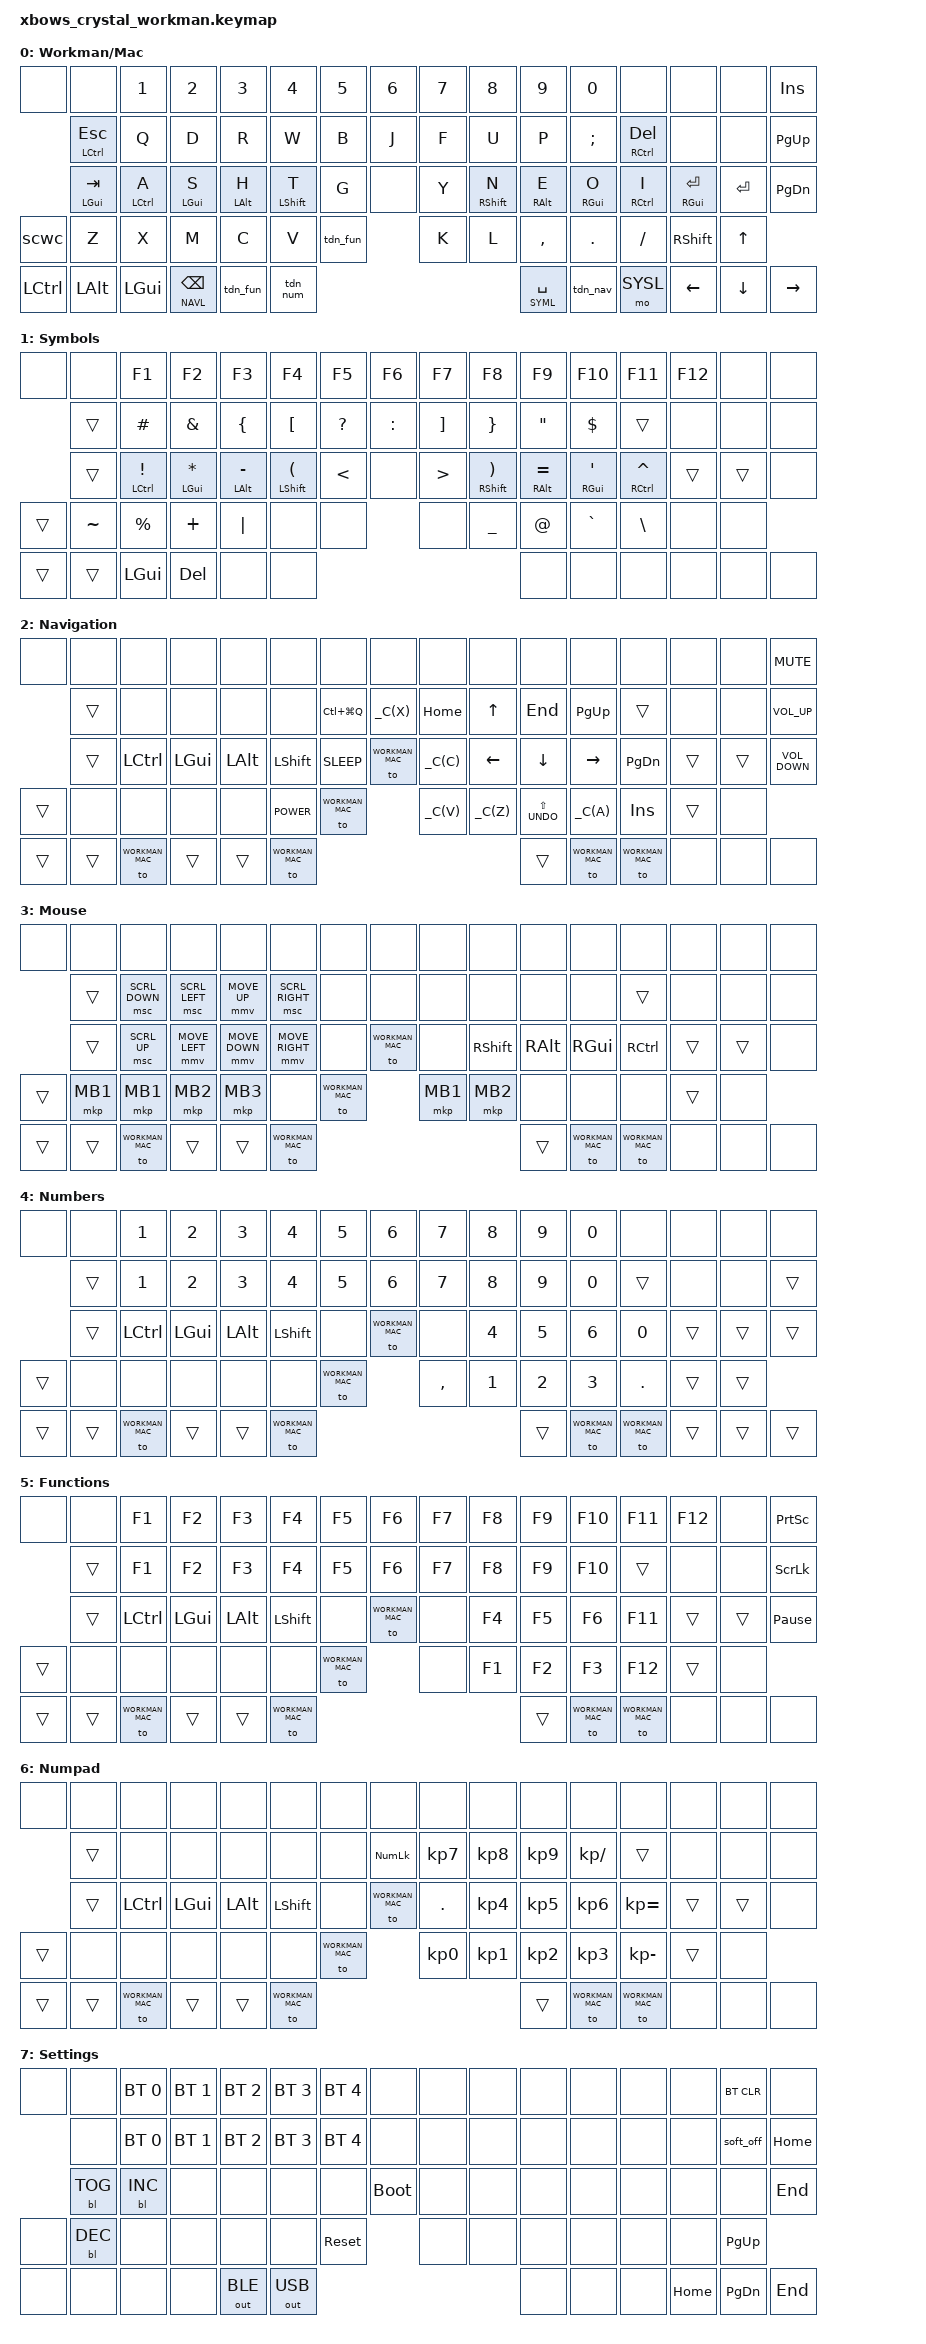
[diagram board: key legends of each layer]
/*
 * Copyright (c) 2023 The ZMK Contributors
 *
 * SPDX-License-Identifier: MIT
 */

#include <behaviors.dtsi>
#include <dt-bindings/zmk/backlight.h>
#include <dt-bindings/zmk/bt.h>
#include <dt-bindings/zmk/keys.h>
#include <dt-bindings/zmk/outputs.h>
//#include <dt-bindings/zmk/rgb.h>

#include "keypos_xbows_crystal.h"

#define OS_MAC   1
#define OS_WIN   2
#define OS_LINUX 3

#define TARGET_OS OS_MAC

#define WORKMAN_MAC 0
#define SYML        1 // Symbols
#define NAVL        2 // Navigation
#define MOUSL       3 // Mouse
#define NUML        4 // Numeric
#define FUNL        5 // Functions
#define NPADL       6 // Numpad
#define SYSL        7 // System/Settings

#if TARGET_OS == OS_MAC
#   define _C LG
#   define _QUIT _C(Q)
#   define _APP_NXT LG(TAB)
#   define _APP_PRV LS(LG(TAB))
#   define _WIN_NXT LG(GRAVE)
#   define _WIN_PRV LS(LG(GRAVE))
#else
#   define _C LC
#   define _QUIT LA(F4)
#   define _APP_NXT LA(TAB)
#   define _APP_PRV LS(LA(TAB))
#   define _WIN_NXT LC(TAB)
#   define _WIN_PRV LS(LC(TAB))
#endif

#define _CUT        _C(X)
#define _COPY       _C(C)
#define _PASTE      _C(V)
#define _UNDO       _C(Z)
#define _REDO       LS(_UNDO)
#define _SEL_ALL    _C(A)
#define _CLOSE      _C(W)
#define _LOCK_SCR   LC(LG(Q))

// &mt {
//     flavor = "tap-preferred";
//     quick-tap-ms = <200>;
// };

&lt {
    flavor = "balanced";
    tapping-term-ms = <200>;
    quick-tap-ms = <175>;                // repeat on tap-into-hold
    //require-prior-idle-ms = <150>;
};

#define KEYS_L      LN0 LN1 LN2 LN3 LN4 LN5 LN6 LT0 LT1 LT2 LT3 LT4 LT5 LM0 LM1 LM2 LM3 LM4 LM5 LB0 LB1 LB2 LB3 LB4 LB5 // left-hand keys
#define KEYS_R      RN0 RN1 RN2 RN3 RN4 RN5 RN6 RN7 RN8 RT0 RT1 RT2 RT3 RT4 RT5 RT6 RT7 RT8 RM0 RM1 RM2 RM3 RM4 RM5 RM6 RM7 RB0 RB1 RB2 RB3 RB4 RB5 RB6 // right-hand keys
#define THUMBS      CM0 CB0 LH4 LH3 LH2 LH1 LH0 RH0 RH1 RH2 RH3 RH4 RH5 RH6                                 // thumb keys

//
// ENABLE_MOUSE_KEYS activates support for mouse keys if defined; otherwise
// mouse keys are deactivated (they're transformed into no-ops) by default.
// To use this feature, uncomment the following line (remove leading "//").
//
#define ENABLE_MOUSE_KEYS

#define ZMK_MOUSE_DEFAULT_MOVE_VAL 2000
#define ZMK_MOUSE_DEFAULT_SCRL_VAL 10
#include <dt-bindings/zmk/mouse.h>
#ifdef ENABLE_MOUSE_KEYS
    // ==== MOUSE-KEY <section begins> ====
    &mmv {
      delay-ms = <0>;
      acceleration-exponent = <2>;
      time-to-max-speed-ms = <500>;
    };
    &msc {
      delay-ms = <0>;
      acceleration-exponent = <0>;
      time-to-max-speed-ms = <300>;
    };
    // ==== MOUSE-KEY <section ends> =====
#else
    //#define mkp none
    #define mmv none
    #define msc none
    #undef  MOVE_UP
    #define MOVE_UP
    #undef  MOVE_DOWN
    #define MOVE_DOWN
    #undef  MOVE_LEFT
    #define MOVE_LEFT
    #undef  MOVE_RIGHT
    #define MOVE_RIGHT
    #undef  SCRL_UP
    #define SCRL_UP
    #undef  SCRL_DOWN
    #define SCRL_DOWN
    #undef  SCRL_LEFT
    #define SCRL_LEFT
    #undef  SCRL_RIGHT
    #define SCRL_RIGHT
#endif

/ {

    behaviors {

        // left-hand HRMs
        hml: hml {
            compatible = "zmk,behavior-hold-tap";
            #binding-cells = <2>;
            flavor = "balanced";
            tapping-term-ms = <200>;
            quick-tap-ms = <175>;                // repeat on tap-into-hold
            require-prior-idle-ms = <150>;
            bindings = <&kp>, <&kp>;
            hold-trigger-key-positions = <KEYS_R THUMBS>;
            hold-trigger-on-release;             // delay positional check until key-release
        };

        // right-hand HRMs
        hmr: hmr {
            compatible = "zmk,behavior-hold-tap";
            #binding-cells = <2>;
            flavor = "balanced";
            tapping-term-ms = <200>;
            quick-tap-ms = <175>;                // repeat on tap-into-hold
            require-prior-idle-ms = <150>;
            bindings = <&kp>, <&kp>;
            hold-trigger-key-positions = <KEYS_L THUMBS>;
            hold-trigger-on-release;             // delay positional check until key-release
        };

        // Layer hold tap: hold to momentarily switch to layer, press to toggle to layer
        lht: layer_hold_tap {
            compatible = "zmk,behavior-hold-tap";
            #binding-cells = <2>;
            flavor = "tap-preferred";
            tapping-term-ms = <200>;
            quick-tap-ms = <175>;
            require-prior-idle-ms = <150>;
            bindings = <&mo>, <&to>;
        };

        // Layer hold none: hold to momentarily switch to layer, nothing on press
        lhn: layer_hold_none {
            compatible = "zmk,behavior-hold-tap";
            #binding-cells = <2>;
            flavor = "tap-preferred";
            tapping-term-ms = <200>;
            quick-tap-ms = <175>;
            require-prior-idle-ms = <150>;
            bindings = <&mo>, <&none>;
        };

        // Shift / Capsword
        scw: shift_caps_word {
            compatible = "zmk,behavior-hold-tap";
            #binding-cells = <2>;
            flavor = "tap-preferred";
            tapping-term-ms = <200>;
            quick-tap-ms = <175>;
            require-prior-idle-ms = <150>;
            bindings = <&kp>, <&caps_word>;
        };

        scwc: shift_caps_word_caps {
            compatible = "zmk,behavior-tap-dance";
            #binding-cells = <0>;
            tapping-term-ms = <200>;
            bindings = <&scw LSHFT 0>, <&kp CAPSLOCK>;
        };

        // Tap-dance and layer tap: one tap outputs a key press, two taps switches to layer, tap and hold enables the layer temporarily
        tdl_nav_esc: tap_dance_layer_navigation_escape {
            compatible = "zmk,behavior-tap-dance";
            #binding-cells = <0>;
            tapping-term-ms = <200>;
            bindings = <&lt NAVL ESC>, <&to NAVL>;
        };
        tdl_fun_esc: tap_dance_layer_func_escape {
            compatible = "zmk,behavior-tap-dance";
            #binding-cells = <0>;
            tapping-term-ms = <200>;
            bindings = <&lt FUNL ESC>, <&to FUNL>;
        };
        tdn_fun: tap_dance_none_func {
            compatible = "zmk,behavior-tap-dance";
            #binding-cells = <0>;
            tapping-term-ms = <200>;
            bindings = <&lhn FUNL 0>, <&to FUNL>;
        };
        tdn_nav: tap_dance_none_navigation {
            compatible = "zmk,behavior-tap-dance";
            #binding-cells = <0>;
            tapping-term-ms = <200>;
            bindings = <&lhn NAVL 0>, <&to NAVL>;
        };
        tdn_num: tap_dance_none_numeric {
            compatible = "zmk,behavior-tap-dance";
            #binding-cells = <0>;
            tapping-term-ms = <200>;
            bindings = <&lhn NUML 0>, <&to NUML>;
        };
        tdn_mouse: tap_dance_none_mouse {
            compatible = "zmk,behavior-tap-dance";
            #binding-cells = <0>;
            tapping-term-ms = <200>;
            bindings = <&lhn MOUSL 0>, <&to MOUSL>;
        };
    };

#define CTL_a     &hml LCTRL A
#define CTL_EXCL  &hml LCTRL EXCL
#define GUI_s     &hml LGUI  S
#define GUI_STAR  &hml LGUI  STAR
#define ALT_h     &hml LALT  H
#define ALT_MINUS &hml LALT  MINUS
#define SHF_t     &hml LSHFT T
#define SHF_LPAR  &hml LSHFT LPAR
#define SHF_n     &hmr RSHFT N
#define SHF_RPAR  &hmr RSHFT RPAR
#define ALT_e     &hmr RALT  E
#define ALT_EQUAL &hmr RALT  EQUAL
#define GUI_o     &hmr RGUI  O
#define GUI_SQT   &hmr RGUI  SQT
#define CTL_i     &hmr RCTRL I
#define CTL_CARET &hmr RCTRL CARET

#define CTL_ESC   &hml LCTRL ESC
#define GUI_TAB   &hml LGUI  TAB
#define CTL_DEL   &hmr RCTRL DEL
#define GUI_RET   &hmr RGUI  RET

#define SH_CAPSW  &scw LSHFT 0

#define TO_0      &to WORKMAN_MAC
#define LHT(L)    &lht L L

    macros {
    };

//#define COMBO_PRIOR_IDLE_MS -1
#define COMBO_PRIOR_IDLE_MS 150
//#define COMBO_TIMEOUT_MS 50
#define COMBO_TIMEOUT_MS 10

    combos {
        compatible = "zmk,combos";
        combo_capslock { // G+Y -> Caps Lock
            bindings = <&kp CAPSLOCK>;
            key-positions = <LM0 RM0>;
            layers = <WORKMAN_MAC>;
            require-prior-idle-ms = <COMBO_PRIOR_IDLE_MS>;
            //timeout-ms = <COMBO_TIMEOUT_MS>;
        };
        // combo_numeric { // Del + Backspace -> Numbers Layer
        //     bindings = <&mo NUML>;
        //     key-positions = <LH2 LH1>;
        //     layers = <WORKMAN_MAC>;
        //     require-prior-idle-ms = <COMBO_PRIOR_IDLE_MS>;
        //     //timeout-ms = <COMBO_TIMEOUT_MS>;
        // };
        // combo_navigation { // Backspace + Esc -> Navigation layer
        //     bindings = <&mo NAVL>;
        //     key-positions = <LH1 LH0>;
        //     layers = <WORKMAN_MAC>;
        //     require-prior-idle-ms = <COMBO_PRIOR_IDLE_MS>;
        //     //timeout-ms = <COMBO_TIMEOUT_MS>;
        // };
        combo_numpad { // Enter + Space -> Numpad Layer
            bindings = <&mo NPADL>;
            key-positions = <RH0 RH1>;
            layers = <WORKMAN_MAC>;
            require-prior-idle-ms = <COMBO_PRIOR_IDLE_MS>;
            //timeout-ms = <COMBO_TIMEOUT_MS>;
        };
        // combo_func { // Space + Tab -> Function Layer
        //     bindings = <&mo FUNL>;
        //     key-positions = <RH1 RH2>;
        //     layers = <WORKMAN_MAC>;
        //     require-prior-idle-ms = <COMBO_PRIOR_IDLE_MS>;
        //     //timeout-ms = <COMBO_TIMEOUT_MS>;
        // };
        combo_semicolon { // , + . -> ;
            bindings = <&kp SEMI>;
            key-positions = <RB2 RB3>;
            layers = <WORKMAN_MAC>;
            require-prior-idle-ms = <COMBO_PRIOR_IDLE_MS>;
            timeout-ms = <COMBO_TIMEOUT_MS>;
        };
        // combo_ctrl_q { // A + Q -> Ctrl+Q
        //     bindings = <&kp LC(W)>;
        //     key-positions = <LM4 LT4>;
        //     layers = <WORKMAN_MAC>;
        //     require-prior-idle-ms = <COMBO_PRIOR_IDLE_MS>;
        //     timeout-ms = <COMBO_TIMEOUT_MS>;
        // };
        // combo_ctrl_a { // A + S -> Ctrl+A
        //     bindings = <&kp LC(A)>;
        //     key-positions = <LM4 LM3>;
        //     layers = <WORKMAN_MAC>;
        //     require-prior-idle-ms = <COMBO_PRIOR_IDLE_MS>;
        //     timeout-ms = <COMBO_TIMEOUT_MS>;
        // };
        // combo_ctrl_z { // A + Z -> Ctrl+Z
        //     bindings = <&kp LC(Z)>;
        //     key-positions = <LM4 LB4>;
        //     layers = <WORKMAN_MAC>;
        //     require-prior-idle-ms = <COMBO_PRIOR_IDLE_MS>;
        //     timeout-ms = <COMBO_TIMEOUT_MS>;
        // };
        // combo_cmd_d { // S + D -> Cmd+D
        //     bindings = <&kp LG(D)>;
        //     key-positions = <LM3 LT3>;
        //     layers = <WORKMAN_MAC>;
        //     require-prior-idle-ms = <COMBO_PRIOR_IDLE_MS>;
        //     timeout-ms = <COMBO_TIMEOUT_MS>;
        // };
        // combo_cmd_s { // S + H -> Cmd+S
        //     bindings = <&kp LG(S)>;
        //     key-positions = <LM3 LM2>;
        //     layers = <WORKMAN_MAC>;
        //     require-prior-idle-ms = <COMBO_PRIOR_IDLE_MS>;
        //     timeout-ms = <COMBO_TIMEOUT_MS>;
        // };
        // combo_cmd_x { // S + X -> Cmd+X
        //     bindings = <&kp LG(X)>;
        //     key-positions = <LM3 LB3>;
        //     layers = <WORKMAN_MAC>;
        //     require-prior-idle-ms = <COMBO_PRIOR_IDLE_MS>;
        //     timeout-ms = <COMBO_TIMEOUT_MS>;
        // };
        // combo_alt_r { // H + R -> Alt+R
        //     bindings = <&kp LA(R)>;
        //     key-positions = <LM2 LT2>;
        //     layers = <WORKMAN_MAC>;
        //     require-prior-idle-ms = <COMBO_PRIOR_IDLE_MS>;
        //     timeout-ms = <COMBO_TIMEOUT_MS>;
        // };
        // combo_alt_h { // H + T -> Alt+H
        //     bindings = <&kp LA(H)>;
        //     key-positions = <LM2 LM1>;
        //     layers = <WORKMAN_MAC>;
        //     require-prior-idle-ms = <COMBO_PRIOR_IDLE_MS>;
        //     timeout-ms = <COMBO_TIMEOUT_MS>;
        // };
        // combo_alt_m { // H + M -> Alt+M
        //     bindings = <&kp LA(M)>;
        //     key-positions = <LM2 LB2>;
        //     layers = <WORKMAN_MAC>;
        //     require-prior-idle-ms = <COMBO_PRIOR_IDLE_MS>;
        //     timeout-ms = <COMBO_TIMEOUT_MS>;
        // };
        // combo_shft_w { // T + W -> Shift+W
        //     bindings = <&kp LS(W)>;
        //     key-positions = <LM1 LT1>;
        //     layers = <WORKMAN_MAC>;
        //     require-prior-idle-ms = <COMBO_PRIOR_IDLE_MS>;
        //     timeout-ms = <COMBO_TIMEOUT_MS>;
        // };
        // combo_shft_t { // T + G -> Shift+T
        //     bindings = <&kp LS(T)>;
        //     key-positions = <LM1 LM0>;
        //     layers = <WORKMAN_MAC>;
        //     require-prior-idle-ms = <COMBO_PRIOR_IDLE_MS>;
        //     timeout-ms = <COMBO_TIMEOUT_MS>;
        // };
        // combo_shft_c { // T + C -> Shift+C
        //     bindings = <&kp LS(C)>;
        //     key-positions = <LM1 LB1>;
        //     layers = <WORKMAN_MAC>;
        //     require-prior-idle-ms = <COMBO_PRIOR_IDLE_MS>;
        //     timeout-ms = <COMBO_TIMEOUT_MS>;
        // };
        // combo_shft_f { // N + F -> Shift+F
        //     bindings = <&kp LS(F)>;
        //     key-positions = <RM1 RT1>;
        //     layers = <WORKMAN_MAC>;
        //     require-prior-idle-ms = <COMBO_PRIOR_IDLE_MS>;
        //     timeout-ms = <COMBO_TIMEOUT_MS>;
        // };
        // combo_shft_n { // N + Y -> Shift+N
        //     bindings = <&kp LS(N)>;
        //     key-positions = <RM1 RM0>;
        //     layers = <WORKMAN_MAC>;
        //     require-prior-idle-ms = <COMBO_PRIOR_IDLE_MS>;
        //     timeout-ms = <COMBO_TIMEOUT_MS>;
        // };
        // combo_shft_l { // N + L -> Shift+L
        //     bindings = <&kp LS(L)>;
        //     key-positions = <RM1 RB1>;
        //     layers = <WORKMAN_MAC>;
        //     require-prior-idle-ms = <COMBO_PRIOR_IDLE_MS>;
        //     timeout-ms = <COMBO_TIMEOUT_MS>;
        // };
        // combo_alt_u { // E + U -> Alt+U
        //     bindings = <&kp LA(U)>;
        //     key-positions = <RM2 RT2>;
        //     layers = <WORKMAN_MAC>;
        //     require-prior-idle-ms = <COMBO_PRIOR_IDLE_MS>;
        //     timeout-ms = <COMBO_TIMEOUT_MS>;
        // };
        // combo_alt_e { // E + N -> Alt+E
        //     bindings = <&kp LA(E)>;
        //     key-positions = <RM2 RM1>;
        //     layers = <WORKMAN_MAC>;
        //     require-prior-idle-ms = <COMBO_PRIOR_IDLE_MS>;
        //     timeout-ms = <COMBO_TIMEOUT_MS>;
        // };
        // combo_alt_comma { // E + , -> Alt+,
        //     bindings = <&kp LA(COMMA)>;
        //     key-positions = <RM2 RB2>;
        //     layers = <WORKMAN_MAC>;
        //     require-prior-idle-ms = <COMBO_PRIOR_IDLE_MS>;
        //     timeout-ms = <COMBO_TIMEOUT_MS>;
        // };
        // combo_cmd_p { // O + P -> Cmd+P
        //     bindings = <&kp LG(P)>;
        //     key-positions = <RM3 RT3>;
        //     layers = <WORKMAN_MAC>;
        //     require-prior-idle-ms = <COMBO_PRIOR_IDLE_MS>;
        //     timeout-ms = <COMBO_TIMEOUT_MS>;
        // };
        // combo_cmd_o { // O + E -> Cmd+O
        //     bindings = <&kp LG(O)>;
        //     key-positions = <RM3 RM2>;
        //     layers = <WORKMAN_MAC>;
        //     require-prior-idle-ms = <COMBO_PRIOR_IDLE_MS>;
        //     timeout-ms = <COMBO_TIMEOUT_MS>;
        // };
        // combo_cmd_dot { // O + DOT -> Cmd+.
        //     bindings = <&kp LG(DOT)>;
        //     key-positions = <RM3 RB3>;
        //     layers = <WORKMAN_MAC>;
        //     require-prior-idle-ms = <COMBO_PRIOR_IDLE_MS>;
        //     timeout-ms = <COMBO_TIMEOUT_MS>;
        // };
        // combo_ctrl_semi { // I + ; -> Ctrl+;
        //     bindings = <&kp LC(SEMI)>;
        //     key-positions = <RM4 RT4>;
        //     layers = <WORKMAN_MAC>;
        //     require-prior-idle-ms = <COMBO_PRIOR_IDLE_MS>;
        //     timeout-ms = <COMBO_TIMEOUT_MS>;
        // };
        // combo_ctrl_i { // I + O -> Ctrl+I
        //     bindings = <&kp LC(I)>;
        //     key-positions = <RM4 RM3>;
        //     layers = <WORKMAN_MAC>;
        //     require-prior-idle-ms = <COMBO_PRIOR_IDLE_MS>;
        //     timeout-ms = <COMBO_TIMEOUT_MS>;
        // };
        // combo_ctrl_slash { // I + / -> Ctrl+/
        //     bindings = <&kp LC(FSLH)>;
        //     key-positions = <RM4 RB4>;
        //     layers = <WORKMAN_MAC>;
        //     require-prior-idle-ms = <COMBO_PRIOR_IDLE_MS>;
        //     timeout-ms = <COMBO_TIMEOUT_MS>;
        // };
    };

    keymap {
        compatible = "zmk,keymap";

        default_layer {
            display-name = "Workman/Mac";
            bindings = <
//╭─────────┬────────┬──────┬──────┬──────┬──────┬──────╮                 ╭──────┬──────┬─────────┬────────┬────────┬─────────┬───────┬─────╮     ╭─────────╮
    &none     &none   &kp N1 &kp N2 &kp N3 &kp N4 &kp N5                   &kp N6 &kp N7  &kp N8   &kp N9    &kp N0   &none     &none  &none        &kp INS
//╰─────────┼────────┼──────┼──────┼──────┼──────┼──────┤                 ├──────┼──────┼─────────┼────────┼────────┼─────────┼───────┼─────┤     ├─────────┤
             CTL_ESC  &kp Q  &kp D  &kp R  &kp W  &kp B                    &kp J  &kp F   &kp U     &kp P   &kp SEMI  CTL_DEL   &none  &none       &kp PG_UP
//      ╭───┴────────┼─────┼───────┼──────┼──────┼──────┤  ╭──────────╮   ├──────┼──────┼─────────┼────────┼────────┼─────────┼───────┼─────╯     ├─────────┤
          GUI_TAB     CTL_a  GUI_s  ALT_h   SHF_t &kp G      &none         &kp Y  SHF_n   ALT_e     GUI_o    CTL_i    GUI_RET  &kp RET             &kp PG_DN
//╭─────┴────────────┼─────┼───────┼──────┼──────┼──────┤  ├──────────┤   ├──────┼──────┼─────────┼────────┼────────┼─────────┼───────╯ ╭────────╮╰─────────╯
    &scwc             &kp Z  &kp X  &kp M  &kp C  &kp V      &tdn_fun      &kp K  &kp L  &kp COMMA &kp DOT  &kp FSLH &kp RSHFT            &kp UP
//├─────────┬────────┼─────┼───────┴──────┼──────┴──────┼──┴─────┬────┴───┼──────┴──────┴─────────┼────────┼────────┼─────────╯╭────────┼────────┼──────────╮
   &kp LCTRL &kp LALT        &kp LGUI      &lt NAVL BSPC &tdn_fun &tdn_num  &lt SYML SPC           &tdn_nav &mo SYSL            &kp LEFT &kp DOWN  &kp RIGHT
//╰─────────┴────────╯     ╰──────────────┴─────────────┴────────┴────────┴───────────────────────┴────────┴────────╯          ╰────────┴────────┴──────────╯
            >;
        };

        symbol_layer {
            display-name = "Symbols";
            bindings = <
//╭──────┬──────┬─────────┬─────────┬─────────┬────────┬─────────╮           ╭─────────┬─────────┬─────────┬─────────┬─────────┬───────┬───────┬─────╮ ╭─────╮
   &none  &none   &kp F1    &kp F2    &kp F3    &kp F4   &kp F5                &kp F6    &kp F7    &kp F8   &kp F9    &kp F10   &kp F11 &kp F12 &none   &none
//╰──────┼──────┼─────────┼─────────┼─────────┼────────┼─────────┤           ├─────────┼─────────┼─────────┼─────────┼─────────┼───────┼───────┼─────┤ ├─────┤
          &trans &kp POUND &kp AMPS   &kp LBRC &kp LBKT &kp QMARK             &kp COLON &kp RBKT  &kp RBRC   &kp DQT  &kp DLLR  &trans   &none  &none   &none
//   ╭───┴──────┼─────────┼─────────┼─────────┼────────┼─────────┤  ╭─────╮  ├─────────┼─────────┼─────────┼─────────┼─────────┼───────┼───────┼─────╯ ├─────┤
       &trans    CTL_EXCL  GUI_STAR  ALT_MINUS SHF_LPAR  &kp LT      &none     &kp GT   SHF_RPAR  ALT_EQUAL  GUI_SQT  CTL_CARET &trans  &trans          &none
//╭──┴──────────┼─────────┼─────────┼─────────┼────────┼─────────┤  ├─────┤  ├─────────┼─────────┼─────────┼─────────┼─────────┼───────┼───────╯╭─────╮╰─────╯
    &trans       &kp TILDE &kp PRCNT  &kp PLUS &kp PIPE   &none      &none     &none    &kp UNDER  &kp AT   &kp GRAVE &kp BSLH   &none           &none
//├──────┬──────┼─────────┼─────────┴─────────┼────────┴─────────┼──┴──┬──┴──┼─────────┴─────────┴─────────┼─────────┼─────────┼───────╯╭───────┼─────┼─────╮
   &trans &trans            &kp LGUI            &kp DEL           &none &none  &none                         &none     &none              &none  &none &none
//╰──────┴──────╯         ╰───────────────────┴──────────────────┴─────┴─────┴─────────────────────────────┴─────────┴─────────╯        ╰───────┴─────┴─────╯
            >;
        };

#define C_VD C_VOLUME_DOWN
#define C_VU C_VOLUME_UP

        navigation_layer {
            display-name = "Navigation";
            bindings = <
//╭──────┬──────┬─────────┬────────┬────────┬─────────┬─────────────╮           ╭──────────┬─────────┬─────────┬────────────┬─────────┬──────┬──────┬─────╮ ╭──────────╮
   &none  &none   &none     &none    &none    &none     &none                     &none      &none     &none     &none        &none    &none   &none &none   &kp C_MUTE
//╰──────┼──────┼─────────┼────────┼────────┼─────────┼─────────────┤           ├──────────┼─────────┼─────────┼────────────┼─────────┼──────┼──────┼─────┤ ├──────────┤
          &trans  &none     &none    &none    &none    &kp _LOCK_SCR              &kp _CUT  &kp HOME   &kp UP    &kp END     &kp PG_UP &trans &none  &none    &kp C_VU
//   ╭───┴──────┼─────────┼────────┼────────┼─────────┼─────────────┤   ╭────╮  ├──────────┼─────────┼─────────┼────────────┼─────────┼──────┼──────┼─────╯ ├──────────┤
        &trans   &kp LCTRL &kp LGUI &kp LALT &kp LSHFT &kp C_SLEEP       TO_0    &kp _COPY  &kp LEFT  &kp DOWN   &kp RIGHT   &kp PG_DN &trans &trans          &kp C_VD
//╭──┴──────────┼─────────┼────────┼────────┼─────────┼─────────────┤   ├────┤  ├──────────┼─────────┼─────────┼────────────┼─────────┼──────┼──────╯╭─────╮╰──────────╯
    &trans        &none     &none    &none    &none    &kp C_POWER       TO_0    &kp _PASTE &kp _UNDO &kp _REDO &kp _SEL_ALL  &kp INS  &trans         &none
//├──────┬──────┼─────────┼────────┴────────┼─────────┴─────────────┼───┴──┬─┴──┼──────────┴─────────┴─────────┼────────────┼─────────┼──────╯╭──────┼─────┼─────╮
   &trans &trans            TO_0              &trans                 &trans TO_0  &trans                         TO_0         TO_0              &none &none &none
//╰──────┴──────╯         ╰─────────────────┴───────────────────────┴──────┴────┴──────────────────────────────┴────────────┴─────────╯       ╰──────┴─────┴─────╯
            >;
        };

        mouse_layer {
            display-name = "Mouse";
            bindings = <
//╭──────┬──────┬──────────────┬──────────────┬──────────────┬───────────────┬─────╮           ╭────────┬─────────┬────────┬────────┬─────────┬──────┬──────┬─────╮ ╭─────╮
   &none  &none   &none          &none          &none          &none          &none              &none    &none     &none    &none    &none    &none   &none &none   &none
//╰──────┼──────┼──────────────┼──────────────┼──────────────┼───────────────┼─────┤           ├────────┼─────────┼────────┼────────┼─────────┼──────┼──────┼─────┤ ├─────┤
          &trans &msc SCRL_DOWN &msc SCRL_LEFT  &mmv MOVE_UP  &msc SCRL_RIGHT &none              &none    &none     &none    &none    &none    &trans &none  &none   &none
//   ╭───┴──────┼──────────────┼──────────────┼──────────────┼───────────────┼─────┤   ╭────╮  ├────────┼─────────┼────────┼────────┼─────────┼──────┼──────┼─────╯ ├─────┤
       &trans     &msc SCRL_UP  &mmv MOVE_LEFT &mmv MOVE_DOWN &mmv MOVE_RIGHT &none     TO_0     &none   &kp RSHFT &kp RALT &kp RGUI &kp RCTRL &trans &trans         &none
//╭──┴──────────┼──────────────┼──────────────┼──────────────┼───────────────┼─────┤   ├────┤  ├────────┼─────────┼────────┼────────┼─────────┼──────┼──────╯╭─────╮╰─────╯
    &trans        &mkp MB1       &mkp MB1       &mkp MB2       &mkp MB3       &none     TO_0    &mkp MB1 &mkp MB2   &none    &none    &none    &trans         &none
//├──────┬──────┼──────────────┼──────────────┴──────────────┼───────────────┴─────┼───┴──┬─┴──┼────────┴─────────┴────────┼────────┼─────────┼──────╯╭──────┼─────┼─────╮
   &trans &trans                 TO_0                          &trans               &trans TO_0  &trans                      TO_0     TO_0             &none  &none &none
//╰──────┴──────╯              ╰─────────────────────────────┴─────────────────────┴──────┴────┴───────────────────────────┴────────┴─────────╯       ╰──────┴─────┴─────╯
            >;
        };

        numeric_layer {
            display-name = "Numbers";
            bindings = <
//╭──────┬──────┬─────────┬────────┬────────┬─────────┬──────╮           ╭─────────┬──────┬──────┬──────┬───────┬──────┬──────┬─────╮  ╭──────╮
   &none  &none   &kp N1    &kp N2   &kp N3   &kp N4   &kp N5              &kp N6   &kp N7 &kp N8 &kp N9 &kp N0  &none  &none  &none    &none
//╰──────┼──────┼─────────┼────────┼────────┼─────────┼──────┤           ├─────────┼──────┼──────┼──────┼───────┼──────┼──────┼─────┤  ├──────┤
          &trans  &kp N1    &kp N2   &kp N3   &kp N4   &kp N5              &kp N6   &kp N7 &kp N8 &kp N9 &kp N0  &trans &none  &none    &trans
//     ╭─┴──────┼─────────┼────────┼────────┼─────────┼──────┤   ╭────╮  ├─────────┼──────┼──────┼──────┼───────┼──────┼──────┼─────╯  ├──────┤
         &trans  &kp LCTRL &kp LGUI &kp LALT &kp LSHFT &none      TO_0     &none    &kp N4 &kp N5 &kp N6 &kp N0  &trans &trans          &trans
//╭────┴────────┼─────────┼────────┼────────┼─────────┼──────┤   ├────┤  ├─────────┼──────┼──────┼──────┼───────┼──────┼──────╯╭──────╮╰──────╯
    &trans       &none      &none    &none    &none    &none      TO_0    &kp COMMA &kp N1 &kp N2 &kp N3 &kp DOT &trans         &trans
//├──────┬──────┼─────────┼────────┴────────┼─────────┴──────┼───┴──┬─┴──┼─────────┴──────┴──────┼──────┼───────┼──────╯╭──────┼──────┼──────╮
   &trans &trans            TO_0              &trans          &trans TO_0  &trans                  TO_0   TO_0           &trans &trans &trans
//╰──────┴──────╯         ╰─────────────────┴────────────────┴──────┴────┴───────────────────────┴──────┴───────╯       ╰──────┴──────┴──────╯
            >;
        };

        function_layer {
            display-name = "Functions";
            bindings = <
//╭──────┬──────┬─────────┬────────┬────────┬─────────┬──────╮           ╭──────┬──────┬──────┬──────┬───────┬───────┬───────┬─────╮ ╭───────────────╮
   &none  &none   &kp F1    &kp F2   &kp F3   &kp F4   &kp F5             &kp F6 &kp F7 &kp F8 &kp F9 &kp F10 &kp F11 &kp F12 &none   &kp PRINTSCREEN
//╰──────┼──────┼─────────┼────────┼────────┼─────────┼──────┤           ├──────┼──────┼──────┼──────┼───────┼───────┼───────┼─────┤ ├───────────────┤
          &trans  &kp F1    &kp F2   &kp F3   &kp F4   &kp F5             &kp F6 &kp F7 &kp F8 &kp F9 &kp F10 &trans   &none  &none   &kp SCROLLLOCK
//     ╭─┴──────┼─────────┼────────┼────────┼─────────┼──────┤   ╭────╮  ├──────┼──────┼──────┼──────┼───────┼───────┼───────┼─────╯ ├───────────────┤
         &trans  &kp LCTRL &kp LGUI &kp LALT &kp LSHFT &none      TO_0    &none  &kp F4 &kp F5 &kp F6 &kp F11 &trans  &trans          &kp PAUSE_BREAK
//╭────┴────────┼─────────┼────────┼────────┼─────────┼──────┤   ├────┤  ├──────┼──────┼──────┼──────┼───────┼───────┼───────╯╭─────╮╰───────────────╯
    &trans        &none     &none    &none    &none    &none      TO_0    &none  &kp F1 &kp F2 &kp F3 &kp F12 &trans           &none
//├──────┬──────┼─────────┼────────┴────────┼─────────┴──────┼───┴──┬─┴──┼──────┴──────┴──────┼──────┼───────┼───────╯  ╭─────┼─────┼─────╮
   &trans &trans            TO_0              &trans          &trans TO_0  &trans               TO_0   TO_0              &none &none &none
//╰──────┴──────╯         ╰─────────────────┴────────────────┴──────┴────┴────────────────────┴──────┴───────╯          ╰─────┴─────┴─────╯
            >;
        };

        numpad_layer {
            display-name = "Numpad";
            bindings = <
//╭──────┬──────┬─────────┬────────┬────────┬─────────┬──────╮           ╭──────────┬─────────┬─────────┬─────────┬────────────┬──────┬──────┬─────╮ ╭─────╮
   &none  &none   &none     &none    &none    &none    &none               &none      &none     &none     &none     &none       &none  &none  &none   &none
//╰──────┼──────┼─────────┼────────┼────────┼─────────┼──────┤           ├──────────┼─────────┼─────────┼─────────┼────────────┼──────┼──────┼─────┤ ├─────┤
          &trans  &none     &none    &none    &none    &none              &kp KP_NUM &kp KP_N7 &kp KP_N8 &kp KP_N9 &kp KP_SLASH &trans &none  &none   &none
//     ╭─┴──────┼─────────┼────────┼────────┼─────────┼──────┤   ╭────╮  ├──────────┼─────────┼─────────┼─────────┼────────────┼──────┼──────┼─────╯ ├─────┤
         &trans  &kp LCTRL &kp LGUI &kp LALT &kp LSHFT &none      TO_0    &kp DOT    &kp KP_N4 &kp KP_N5 &kp KP_N6 &kp KP_EQUAL &trans &trans         &none
//╭────┴────────┼─────────┼────────┼────────┼─────────┼──────┤   ├────┤  ├──────────┼─────────┼─────────┼─────────┼────────────┼──────┼──────╯╭─────╮╰─────╯
    &trans        &none     &none    &none    &none    &none      TO_0    &kp KP_N0  &kp KP_N1 &kp KP_N2 &kp KP_N3 &kp KP_MINUS &trans         &none
//├──────┬──────┼─────────┼────────┴────────┼─────────┴──────┼───┴──┬─┴──┼──────────┴─────────┴─────────┼─────────┼────────────┼──────╯ ╭─────┼─────┼─────╮
   &trans &trans            TO_0              &trans          &trans TO_0  &trans                         TO_0      TO_0                 &none &none &none
//╰──────┴──────╯         ╰─────────────────┴────────────────┴──────┴────┴──────────────────────────────┴─────────┴────────────╯        ╰─────┴─────┴─────╯
            >;
        };

#define BSL BT_SEL

        settings_layer {
            display-name = "Settings";
            bindings = <
//╭──────┬────────┬──────────┬─────────┬─────────┬─────────┬─────────╮                         ╭─────┬─────┬─────┬─────┬─────┬─────┬─────┬──────────╮ ╭────────╮
   &none   &none   &bt BSL 0  &bt BSL 1 &bt BSL 2 &bt BSL 3 &bt BSL 4                           &none &none &none &none &none &none &none &bt BT_CLR    &none
//╰──────┼────────┼──────────┼─────────┼─────────┼─────────┼─────────┤                         ├─────┼─────┼─────┼─────┼─────┼─────┼─────┼──────────┤ ├────────┤
           &none   &bt BSL 0  &bt BSL 1 &bt BSL 2 &bt BSL 3 &bt BSL 4                           &none &none &none &none &none &none &none &soft_off    &kp HOME
//     ╭─┴────────┼──────────┼─────────┼─────────┼─────────┼─────────┤      ╭───────────╮      ├─────┼─────┼─────┼─────┼─────┼─────┼─────┼──────────╯ ├────────┤
        &bl BL_TOG &bl BL_INC  &none     &none     &none     &none           &bootloader        &none &none &none &none &none &none &none              &kp END
//╭────┴──────────┼──────────┼─────────┼─────────┼─────────┼─────────┤      ├───────────┤      ├─────┼─────┼─────┼─────┼─────┼─────┼─────╯ ╭─────────╮╰────────╯
    &none          &bl BL_DEC  &none     &none     &none     &none           &sys_reset         &none &none &none &none &none &none         &kp PG_UP
//├──────┬────────┼──────────┼─────────┴─────────┼─────────┴─────────┼──────┴─────┬─────┴──────┼─────┴─────┴─────┼─────┼─────┼─────╯╭──────┼─────────┼───────╮
   &none   &none               &none               &none              &out OUT_BLE &out OUT_USB  &none            &none &none      &kp HOME &kp PG_DN &kp END
//╰──────┴────────╯          ╰───────────────────┴───────────────────┴────────────┴────────────┴─────────────────┴─────┴─────╯      ╰──────┴─────────┴───────╯
            >;
        };
    };
};
